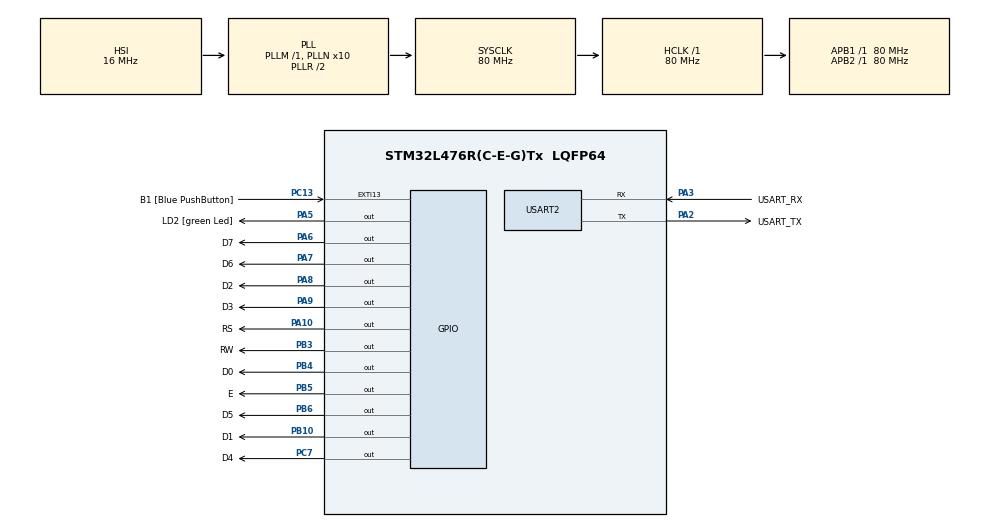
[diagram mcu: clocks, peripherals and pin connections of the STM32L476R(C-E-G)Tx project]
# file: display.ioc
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Mcu.Family=STM32L4
Mcu.Name=STM32L476R(C-E-G)Tx
Mcu.Package=LQFP64
NVIC.PriorityGroup=NVIC_PRIORITYGROUP_4
PA10.GPIO_Label=RS
PA10.Signal=GPIO_Output
PA13\ (JTMS-SWDIO).GPIO_Label=TMS
PA13\ (JTMS-SWDIO).Mode=Serial_Wire
PA13\ (JTMS-SWDIO).Signal=SYS_JTMS-SWDIO
PA14\ (JTCK-SWCLK).GPIO_Label=TCK
PA14\ (JTCK-SWCLK).Mode=Serial_Wire
PA14\ (JTCK-SWCLK).Signal=SYS_JTCK-SWCLK
PA2.GPIO_Label=USART_TX
PA2.GPIO_Mode=GPIO_MODE_AF_PP
PA2.GPIO_PuPd=GPIO_NOPULL
PA2.GPIO_Speed=GPIO_SPEED_FREQ_VERY_HIGH
PA2.Mode=Asynchronous
PA2.Signal=USART2_TX
PA3.GPIO_Label=USART_RX
PA3.GPIO_Mode=GPIO_MODE_AF_PP
PA3.GPIO_PuPd=GPIO_NOPULL
PA3.GPIO_Speed=GPIO_SPEED_FREQ_VERY_HIGH
PA3.Mode=Asynchronous
PA3.Signal=USART2_RX
PA5.GPIO_Label=LD2 [green Led]
PA5.GPIO_ModeDefaultOutputPP=GPIO_MODE_OUTPUT_PP
PA5.GPIO_PuPd=GPIO_NOPULL
PA5.GPIO_Speed=GPIO_SPEED_FREQ_LOW
PA5.Signal=GPIO_Output
PA6.GPIO_Label=D7
PA6.Signal=GPIO_Output
PA7.GPIO_Label=D6
PA7.Signal=GPIO_Output
PA8.GPIO_Label=D2
PA8.Signal=GPIO_Output
PA9.GPIO_Label=D3
PA9.Signal=GPIO_Output
PB10.GPIO_Label=D1
PB10.Signal=GPIO_Output
PB3\ (JTDO-TRACESWO).GPIO_Label=RW
PB3\ (JTDO-TRACESWO).Signal=GPIO_Output
PB4\ (NJTRST).GPIO_Label=D0
PB4\ (NJTRST).Signal=GPIO_Output
PB5.GPIO_Label=E
PB5.Signal=GPIO_Output
PB6.GPIO_Label=D5
PB6.Signal=GPIO_Output
PC13.GPIO_Label=B1 [Blue PushButton]
PC13.GPIO_ModeDefaultEXTI=GPIO_MODE_IT_FALLING
PC13.GPIO_PuPd=GPIO_NOPULL
PC13.Signal=GPXTI13
PC14-OSC32_IN\ (PC14).Mode=LSE-External-Oscillator
PC14-OSC32_IN\ (PC14).Signal=RCC_OSC32_IN
PC15-OSC32_OUT\ (PC15).Mode=LSE-External-Oscillator
PC15-OSC32_OUT\ (PC15).Signal=RCC_OSC32_OUT
PC7.GPIO_Label=D4
PC7.Signal=GPIO_Output
PH0-OSC_IN\ (PH0).Signal=RCC_OSC_IN
PH1-OSC_OUT\ (PH1).Signal=RCC_OSC_OUT
ProjectManager.HeapSize=0x200
ProjectManager.StackSize=0x400
ProjectManager.TargetToolchain=STM32CubeIDE
RCC.ADCFreq_Value=64000000
RCC.AHBFreq_Value=80000000
RCC.APB1Freq_Value=80000000
RCC.APB1TimFreq_Value=80000000
RCC.APB2Freq_Value=80000000
RCC.APB2TimFreq_Value=80000000
RCC.CortexFreq_Value=80000000
RCC.HCLKFreq_Value=80000000
RCC.HSE_VALUE=8000000
RCC.HSI_VALUE=16000000
RCC.MSI_VALUE=4000000
RCC.PLLN=10
RCC.PLLSourceVirtual=RCC_PLLSOURCE_HSI
RCC.PREFETCH_ENABLE=1
RCC.SYSCLKFreq_VALUE=80000000
RCC.SYSCLKSource=RCC_SYSCLKSOURCE_PLLCLK
RCC.USBFreq_Value=64000000
RCC.VCOOutputFreq_Value=160000000
USART2.VirtualMode-Asynchronous=VM_ASYNC
board=NUCLEO-L476RG

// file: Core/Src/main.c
/* USER CODE BEGIN Header */
/**
  ******************************************************************************
  * @file           : main.c
  * @brief          : Main program body
  ******************************************************************************
  * @attention
  *
  * Copyright (c) 2022 STMicroelectronics.
  * All rights reserved.
  *
  * This software is licensed under terms that can be found in the LICENSE file
  * in the root directory of this software component.
  * If no LICENSE file comes with this software, it is provided AS-IS.
  *
  ******************************************************************************
  */
/* USER CODE END Header */
#include "main.h"
#include "usart.h"
#include "gpio.h"

/* USER CODE BEGIN Includes */
#include "display.h"
#include <stdio.h>
/* USER CODE END Includes */

void SystemClock_Config(void);

int main(void)
{

  /* MCU Configuration--------------------------------------------------------*/

  /* Reset of all peripherals, Initializes the Flash interface and the Systick. */
  HAL_Init();

  /* Configure the system clock */
  SystemClock_Config();

  /* Initialize all configured peripherals */
  MX_GPIO_Init();
  MX_USART2_UART_Init();
  /* USER CODE BEGIN 2 */
  setvbuf(stdout, (char*)NULL, _IONBF, 0);
  display_init();
  display_test_write_cgram_ms();
  display_set_pos(0x00);
  printf("Hola mundo");
  display_clear();
  printf("ELO312 2025 :)");
  printf("%c", 0x01);
  putchar(0x01);
  printf("\nVamos");

  /* USER CODE END 2 */

  /* Infinite loop */
  while (1)
  {

  }
}

void SystemClock_Config(void)
{
  RCC_OscInitTypeDef RCC_OscInitStruct = {0};
  RCC_ClkInitTypeDef RCC_ClkInitStruct = {0};

  /** Configure the main internal regulator output voltage
  */
  if (HAL_PWREx_ControlVoltageScaling(PWR_REGULATOR_VOLTAGE_SCALE1) != HAL_OK)
  {
    Error_Handler();
  }

  /** Initializes the RCC Oscillators according to the specified parameters
  * in the RCC_OscInitTypeDef structure.
  */
  RCC_OscInitStruct.OscillatorType = RCC_OSCILLATORTYPE_HSI;
  RCC_OscInitStruct.HSIState = RCC_HSI_ON;
  RCC_OscInitStruct.HSICalibrationValue = RCC_HSICALIBRATION_DEFAULT;
  RCC_OscInitStruct.PLL.PLLState = RCC_PLL_ON;
  RCC_OscInitStruct.PLL.PLLSource = RCC_PLLSOURCE_HSI;
  RCC_OscInitStruct.PLL.PLLM = 1;
  RCC_OscInitStruct.PLL.PLLN = 10;
  RCC_OscInitStruct.PLL.PLLP = RCC_PLLP_DIV7;
  RCC_OscInitStruct.PLL.PLLQ = RCC_PLLQ_DIV2;
  RCC_OscInitStruct.PLL.PLLR = RCC_PLLR_DIV2;
  if (HAL_RCC_OscConfig(&RCC_OscInitStruct) != HAL_OK)
  {
    Error_Handler();
  }

  /** Initializes the CPU, AHB and APB buses clocks
  */
  RCC_ClkInitStruct.ClockType = RCC_CLOCKTYPE_HCLK|RCC_CLOCKTYPE_SYSCLK
                              |RCC_CLOCKTYPE_PCLK1|RCC_CLOCKTYPE_PCLK2;
  RCC_ClkInitStruct.SYSCLKSource = RCC_SYSCLKSOURCE_PLLCLK;
  RCC_ClkInitStruct.AHBCLKDivider = RCC_SYSCLK_DIV1;
  RCC_ClkInitStruct.APB1CLKDivider = RCC_HCLK_DIV1;
  RCC_ClkInitStruct.APB2CLKDivider = RCC_HCLK_DIV1;

  if (HAL_RCC_ClockConfig(&RCC_ClkInitStruct, FLASH_LATENCY_4) != HAL_OK)
  {
    Error_Handler();
  }
}

/* USER CODE BEGIN 4 */
int _write(int fd, char* ptr, int len)
{
    for(int i = 0; i < len ; i++)
    {
      display_putchar(ptr[i]);
    }
    return len;
}

/* USER CODE END 4 */

void Error_Handler(void)
{
  __disable_irq();
  while (1)
  {
  }
}
